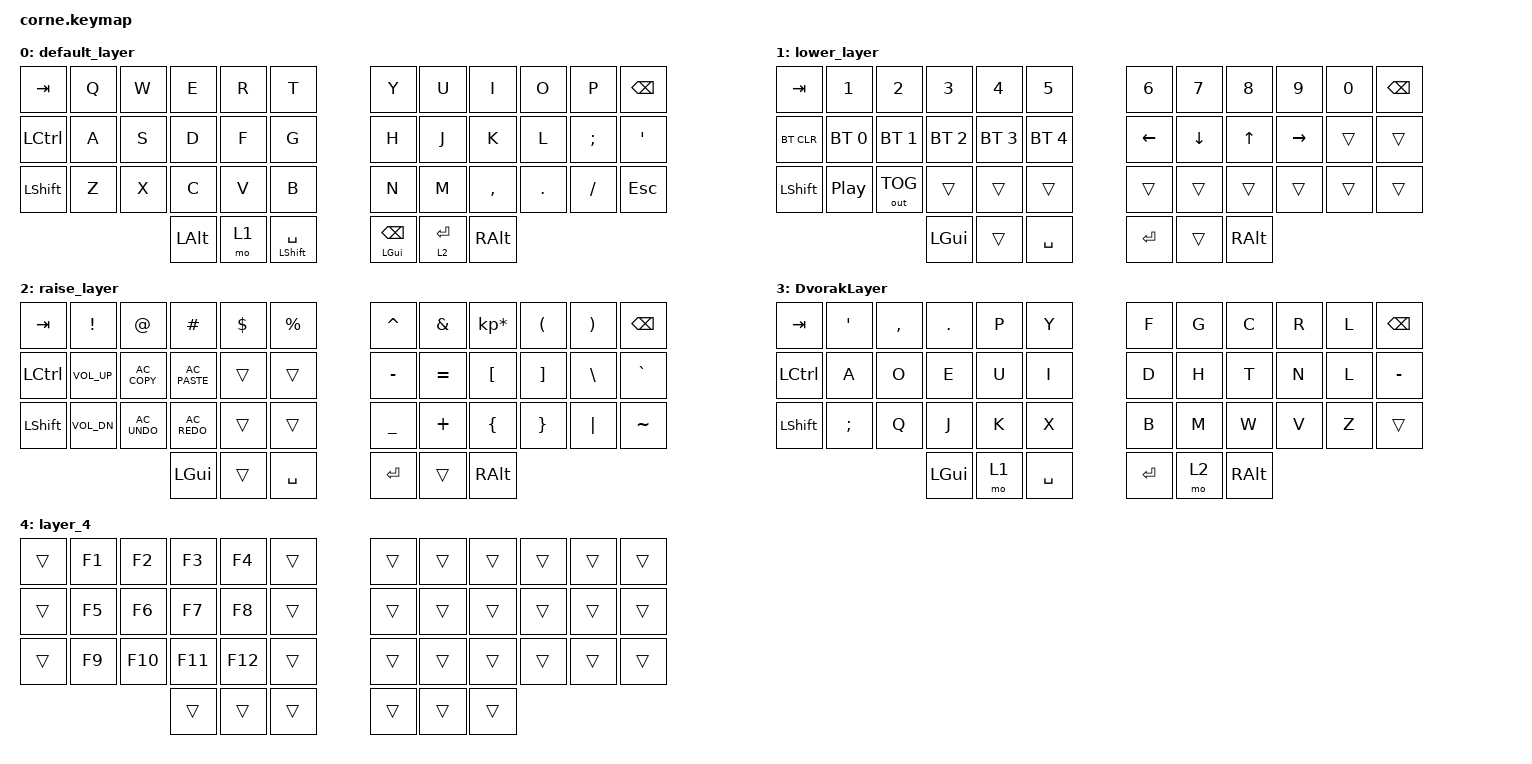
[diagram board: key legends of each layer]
/*
 * Copyright (c) 2020 The ZMK Contributors
 *
 * SPDX-License-Identifier: MIT
 */

#include <behaviors.dtsi>
#include <dt-bindings/zmk/bt.h>
#include <dt-bindings/zmk/keys.h>
#include <dt-bindings/zmk/outputs.h>

/ {
    combos {
        compatible = "zmk,combos";

        toggle-dvork {
            bindings = <&to 3>;
            key-positions = <14 15 16>;
            layers = <0 3>;
        };

        function_keys {
            bindings = <&sl 4>;
            key-positions = <19 20 21>;
            layers = <0 3>;
        };
    };

    keymap {
        compatible = "zmk,keymap";

        default_layer {
            // -----------------------------------------------------------------------------------------
            // |  TAB |  Q  |  W  |  E  |  R  |  T  |   |  Y  |  U   |  I  |  O  |  P  | BKSP |
            // | CTRL |  A  |  S  |  D  |  F  |  G  |   |  H  |  J   |  K  |  L  |  ;  |  '   |
            // | SHFT |  Z  |  X  |  C  |  V  |  B  |   |  N  |  M   |  ,  |  .  |  /  | ESC  |
            //                    | GUI | SPACE | SHFT |   | BKSP | RSE  | ALT |

            bindings = <
&kp TAB    &kp Q  &kp W  &kp E         &kp R  &kp T              &kp Y              &kp U        &kp I      &kp O    &kp P     &kp BSPC
&kp LCTRL  &kp A  &kp S  &kp D         &kp F  &kp G              &kp H              &kp J        &kp K      &kp L    &kp SEMI  &kp SQT
&kp LSHFT  &kp Z  &kp X  &kp C         &kp V  &kp B              &kp N              &kp M        &kp COMMA  &kp DOT  &kp FSLH  &kp ESC
                         &kp LEFT_ALT  &mo 1  &mt LSHFT SPACE    &mt LEFT_GUI BSPC  &lt 2 ENTER  &kp RALT
            >;
        };

        lower_layer {
            // -----------------------------------------------------------------------------------------
            // |  TAB |  1  |  2  |  3  |  4  |  5  |   |  6  |  7  |  8  |  9  |  0  | BKSP |
            // | BTCLR| BT1 | BT2 | BT3 | BT4 | BT5 |   | LFT | DWN |  UP | RGT |     |      |
            // | SHFT | PlayPause    |     |     |     |     |   |     |     |     |     |     |      |
            //                    | GUI |     | SPC |   | ENT |     | ALT |

            bindings = <
&kp TAB     &kp N1        &kp N2        &kp N3        &kp N4        &kp N5          &kp N6    &kp N7    &kp N8    &kp N9     &kp N0  &kp BSPC
&bt BT_CLR  &bt BT_SEL 0  &bt BT_SEL 1  &bt BT_SEL 2  &bt BT_SEL 3  &bt BT_SEL 4    &kp LEFT  &kp DOWN  &kp UP    &kp RIGHT  &trans  &trans
&kp LSHFT   &kp C_PP      &out OUT_TOG  &trans        &trans        &trans          &trans    &trans    &trans    &trans     &trans  &trans
                                        &kp LGUI      &trans        &kp SPACE       &kp RET   &trans    &kp RALT
            >;
        };

        raise_layer {
            // -----------------------------------------------------------------------------------------
            // |  TAB |  !   |  @  |  #  |  $  |  %  |   |  ^  |  &  |  *  |  (  |  )  | BKSP |
            // | CTRL |VOL_UP|  COPY   |  PASTE   |     |     |   |  -  |  =  |  [  |  ]  |  \  |  `   |
            // | SHFT |VOL_DW|  UNDO   |  REDO   |     |     |   |  _  |  +  |  {  |  }  | "|" |  ~   |
            //                    | GUI |     | SPC |   | ENT |     | ALT |

            bindings = <
&kp TAB    &kp EXCL      &kp AT         &kp HASH        &kp DLLR  &kp PRCNT    &kp CARET  &kp AMPS   &kp KP_MULTIPLY  &kp LPAR  &kp RPAR  &kp BSPC
&kp LCTRL  &kp C_VOL_UP  &kp C_AC_COPY  &kp C_AC_PASTE  &trans    &trans       &kp MINUS  &kp EQUAL  &kp LBKT         &kp RBKT  &kp BSLH  &kp GRAVE
&kp LSHFT  &kp C_VOL_DN  &kp C_AC_UNDO  &kp C_AC_REDO   &trans    &trans       &kp UNDER  &kp PLUS   &kp LBRC         &kp RBRC  &kp PIPE  &kp TILDE
                                        &kp LGUI        &trans    &kp SPACE    &kp RET    &trans     &kp RALT
            >;
        };

        DvorakLayer {
            bindings = <
&kp TAB           &kp SQT        &kp COMMA  &kp PERIOD    &kp P  &kp Y        &kp F      &kp G  &kp C          &kp R  &kp L  &kp BACKSPACE
&kp LEFT_CONTROL  &kp A          &kp O      &kp E         &kp U  &kp I        &kp D      &kp H  &kp T          &kp N  &kp L  &kp MINUS
&kp LEFT_SHIFT    &kp SEMICOLON  &kp Q      &kp J         &kp K  &kp X        &kp B      &kp M  &kp W          &kp V  &kp Z  &trans
                                            &kp LEFT_GUI  &mo 1  &kp SPACE    &kp ENTER  &mo 2  &kp RIGHT_ALT
            >;
        };

        layer_4 {
            bindings = <
&trans  &kp F1  &kp F2   &kp F3   &kp F4   &trans    &trans  &trans  &trans  &trans  &trans  &trans
&trans  &kp F5  &kp F6   &kp F7   &kp F8   &trans    &trans  &trans  &trans  &trans  &trans  &trans
&trans  &kp F9  &kp F10  &kp F11  &kp F12  &trans    &trans  &trans  &trans  &trans  &trans  &trans
                         &trans   &trans   &trans    &trans  &trans  &trans
            >;
        };
    };
};
